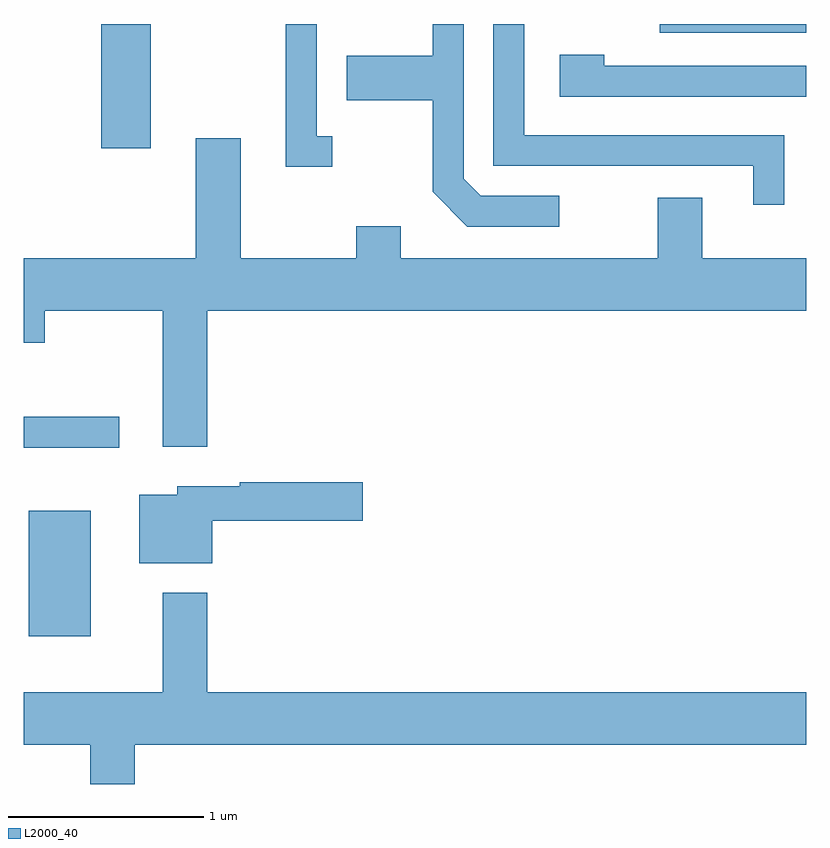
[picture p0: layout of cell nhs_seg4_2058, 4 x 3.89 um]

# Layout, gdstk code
import gdstk
lib = gdstk.Library(unit=1e-6, precision=1e-09)
def R(c, l, rs):  # rectangles x0, y0, x1, y1
    for r in rs: c.add(gdstk.rectangle(r[:2], r[2:], *l))
def P(c, l, *ps):  # polygons
    for p in ps: c.add(gdstk.Polygon(p, *l))
L2000_40 = (2000, 40)

nhs_seg4_2058 = lib.new_cell('nhs_seg4_2058')
R(nhs_seg4_2058, L2000_40, [(245.636,1290.851,245.954,1291.494), (245.611,1291.816,246.098,1291.974), (246.006,1293.346,246.259,1293.982), (248.863,1293.936,249.611,1293.982)])
P(nhs_seg4_2058, L2000_40, [(248.348,1293.104),(247.947,1293.104),(247.859,1293.192),(247.859,1293.982),(247.701,1293.982),(247.701,1293.819),(247.261,1293.819),(247.261,1293.591),(247.701,1293.591),(247.701,1293.124),(247.879,1292.946),(248.348,1292.946)],
  [(249.499,1293.414),(248.169,1293.414),(248.169,1293.982),(248.011,1293.982),(248.011,1293.256),(249.341,1293.256),(249.341,1293.058),(249.499,1293.058)],
  [(247.188,1293.409),(247.109,1293.409),(247.109,1293.982),(246.951,1293.982),(246.951,1293.251),(247.188,1293.251)],
  [(249.611,1293.769),(248.579,1293.769),(248.579,1293.824),(248.351,1293.824),(248.351,1293.611),(249.611,1293.611)],
  [(249.611,1292.784),(249.079,1292.784),(249.079,1293.094),(248.851,1293.094),(248.851,1292.784),(247.539,1292.784),(247.539,1292.949),(247.311,1292.949),(247.311,1292.784),(246.719,1292.784),(246.719,1293.399),(246.491,1293.399),(246.491,1292.784),(245.611,1292.784),(245.611,1292.351),(245.719,1292.351),(245.719,1292.516),(246.321,1292.516),(246.321,1291.821),(246.549,1291.821),(246.549,1292.516),(249.611,1292.516)],
  [(246.574,1291.441),(247.344,1291.441),(247.344,1291.639),(246.716,1291.639),(246.716,1291.619),(246.396,1291.619),(246.396,1291.574),(246.201,1291.574),(246.201,1291.226),(246.574,1291.226)],
  [(246.179,1290.296),(249.611,1290.296),(249.611,1290.564),(246.549,1290.564),(246.549,1291.074),(246.321,1291.074),(246.321,1290.564),(245.611,1290.564),(245.611,1290.296),(245.951,1290.296),(245.951,1290.096),(246.179,1290.096)])

lib.write_gds('nhs_seg4_2058.gds')
